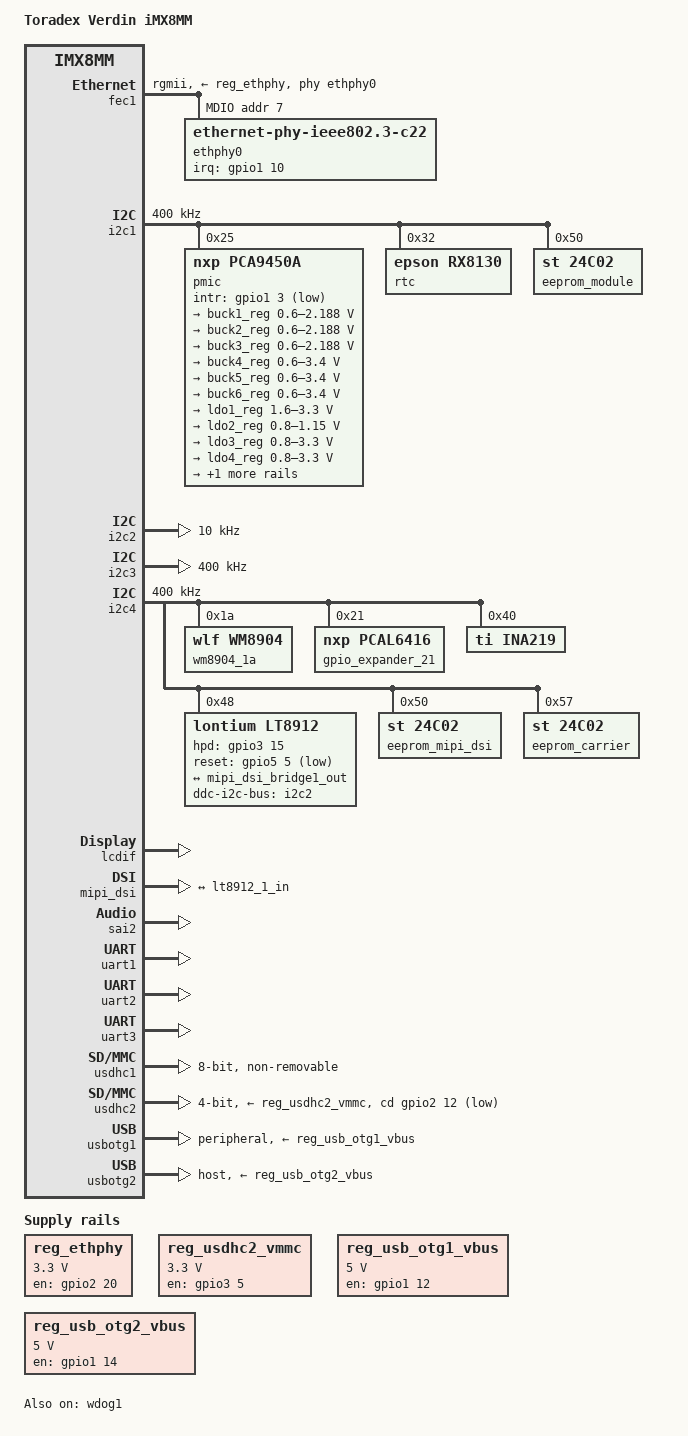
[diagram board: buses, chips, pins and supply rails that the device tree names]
// SPDX-License-Identifier: GPL-2.0+ OR X11
/*
 * Copyright 2019 Toradex
 */

/dts-v1/;

#include "imx8mm.dtsi"

/ {
	model = "Toradex Verdin iMX8MM";
	compatible = "toradex,verdin-imx8mm", "fsl,imx8mm";

	chosen {
		bootargs = "console=ttymxc0,115200 earlycon=ec_imx6q,0x30860000,115200";
		stdout-path = &uart1;
	};

	aliases {
		eeprom0 = &eeprom_module;
		eeprom1 = &eeprom_carrier;
		eeprom2 = &eeprom_mipi_dsi;
	};

	regulators {
		compatible = "simple-bus";
		#address-cells = <1>;
		#size-cells = <0>;

		reg_ethphy: regulator-ethphy {
			compatible = "regulator-fixed";
			enable-active-high;
			gpio = <&gpio2 20 GPIO_ACTIVE_HIGH>;
			off-on-delay = <500000>;
			pinctrl-names = "default";
			pinctrl-0 = <&pinctrl_reg_eth>;
			regulator-boot-on;
			regulator-name = "V3.3_ETH";
			regulator-min-microvolt = <3300000>;
			regulator-max-microvolt = <3300000>;
			startup-delay-us = <200000>;
		};

		reg_usdhc2_vmmc: regulator-usdhc2 {
			compatible = "regulator-fixed";
			pinctrl-names = "default";
			pinctrl-0 = <&pinctrl_usdhc2_pwr_en>;
			regulator-name = "V3.3_SD";
			regulator-min-microvolt = <3300000>;
			regulator-max-microvolt = <3300000>;
			gpio = <&gpio3 5 GPIO_ACTIVE_HIGH>;
			startup-delay-us = <2000>;
			enable-active-high;
		};

		reg_usb_otg1_vbus: regulator-usb-otg1 {
			compatible = "regulator-fixed";
			pinctrl-names = "default";
			pinctrl-0 = <&pinctrl_reg_usb1_en>;
			regulator-name = "usb_otg1_vbus";
			regulator-min-microvolt = <5000000>;
			regulator-max-microvolt = <5000000>;
			enable-active-high;
			/* Verdin USB1_EN */
			gpio = <&gpio1 12 GPIO_ACTIVE_HIGH>;
		};

		reg_usb_otg2_vbus: regulator-usb-otg2 {
			compatible = "regulator-fixed";
			pinctrl-names = "default";
			pinctrl-0 = <&pinctrl_reg_usb2_en>;
			regulator-name = "usb_otg2_vbus";
			regulator-min-microvolt = <5000000>;
			regulator-max-microvolt = <5000000>;
			enable-active-high;
			/* Verdin USB2_EN */
			gpio = <&gpio1 14 GPIO_ACTIVE_HIGH>;
		};
	};

	sound {
		compatible = "simple-audio-card";
		simple-audio-card,name = "imx8mm-wm8904";
		simple-audio-card,format = "i2s";
		simple-audio-card,bitclock-master = <&dailink_master>;
		simple-audio-card,frame-master = <&dailink_master>;
		/*simple-audio-card,mclk-fs = <1>;*/

		simple-audio-card,cpu {
			sound-dai = <&sai2>;
		};

		dailink_master: simple-audio-card,codec {
			sound-dai = <&wm8904_1a>;
//			clocks = <&clk IMX8QXP_AUD_MCLKOUT0>;
		};
	};

};

&A53_0 {
	arm-supply = <&buck2_reg>;
};

&clk {
	assigned-clocks = <&clk IMX8MM_AUDIO_PLL1>, <&clk IMX8MM_AUDIO_PLL2>;
	assigned-clock-rates = <786432000>, <722534400>;
};

&fec1 {
	pinctrl-names = "default";
	pinctrl-0 = <&pinctrl_fec1>;
	phy-handle = <&ethphy0>;
	phy-mode = "rgmii";
	phy-supply = <&reg_ethphy>;
	fsl,magic-packet;
	status = "okay";

	mdio {
		#address-cells = <1>;
		#size-cells = <0>;

		ethphy0: ethernet-phy@7 {
			compatible = "ethernet-phy-ieee802.3-c22";
			interrupt-parent = <&gpio1>;
			interrupts = <10 IRQ_TYPE_LEVEL_LOW>;
			reg = <7>;
			micrel,led-mode = <0>;
		};
	};
};

&i2c1 {
	clock-frequency = <400000>;
	pinctrl-names = "default";
	pinctrl-0 = <&pinctrl_i2c1>;
	status = "okay";

	/* Assembled on V1.1 HW and later */
	pmic: pca9450@25 {
		reg = <0x25>;
		compatible = "nxp,pca9450a";
		/* PMIC PCA9450 PMIC_nINT GPIO1_IO3 */
		pinctrl-0 = <&pinctrl_pmic>;
		gpio_intr = <&gpio1 3 GPIO_ACTIVE_LOW>;

		regulators {
			#address-cells = <1>;
			#size-cells = <0>;

			pca9450,pmic-buck2-uses-i2c-dvs;
			/* Run/Standby voltage */
			pca9450,pmic-buck2-dvs-voltage = <950000>, <850000>;

			buck1_reg: regulator@0 {
				reg = <0>;
				regulator-compatible = "buck1";
				regulator-min-microvolt = <600000>;
				regulator-max-microvolt = <2187500>;
				regulator-boot-on;
				regulator-always-on;
				regulator-ramp-delay = <3125>;
			};

			buck2_reg: regulator@1 {
				reg = <1>;
				regulator-compatible = "buck2";
				regulator-min-microvolt = <600000>;
				regulator-max-microvolt = <2187500>;
				regulator-boot-on;
				regulator-always-on;
				regulator-ramp-delay = <3125>;
			};

			buck3_reg: regulator@2 {
				reg = <2>;
				regulator-compatible = "buck3";
				regulator-min-microvolt = <600000>;
				regulator-max-microvolt = <2187500>;
				regulator-boot-on;
				regulator-always-on;
			};

			buck4_reg: regulator@3 {
				reg = <3>;
				regulator-compatible = "buck4";
				regulator-min-microvolt = <600000>;
				regulator-max-microvolt = <3400000>;
				regulator-boot-on;
				regulator-always-on;
			};

			buck5_reg: regulator@4 {
				reg = <4>;
				regulator-compatible = "buck5";
				regulator-min-microvolt = <600000>;
				regulator-max-microvolt = <3400000>;
				regulator-boot-on;
				regulator-always-on;
			};

			buck6_reg: regulator@5 {
				reg = <5>;
				regulator-compatible = "buck6";
				regulator-min-microvolt = <600000>;
				regulator-max-microvolt = <3400000>;
				regulator-boot-on;
				regulator-always-on;
			};

			ldo1_reg: regulator@6 {
				reg = <6>;
				regulator-compatible = "ldo1";
				regulator-min-microvolt = <1600000>;
				regulator-max-microvolt = <3300000>;
				regulator-boot-on;
				regulator-always-on;
			};

			ldo2_reg: regulator@7 {
				reg = <7>;
				regulator-compatible = "ldo2";
				regulator-min-microvolt = <800000>;
				regulator-max-microvolt = <1150000>;
				regulator-boot-on;
				regulator-always-on;
			};

			ldo3_reg: regulator@8 {
				reg = <8>;
				regulator-compatible = "ldo3";
				regulator-min-microvolt = <800000>;
				regulator-max-microvolt = <3300000>;
				regulator-boot-on;
				regulator-always-on;
			};

			ldo4_reg: regulator@9 {
				reg = <9>;
				regulator-compatible = "ldo4";
				regulator-min-microvolt = <800000>;
				regulator-max-microvolt = <3300000>;
				regulator-boot-on;
				regulator-always-on;
			};

			ldo5_reg: regulator@10 {
				reg = <10>;
				regulator-compatible = "ldo5";
				regulator-min-microvolt = <800000>;
				regulator-max-microvolt = <3300000>;
			};

		};
	};

	/* Epson RX8130 real time clock on carrier board */
	rtc: rx8130@32 {
		compatible = "epson,rx8130";
		reg = <0x32>;
	};

	eeprom_module: eeprom@50 {
		compatible = "st,24c02", "atmel,24c02", "i2c-eeprom";
		pagesize = <16>;
		reg = <0x50>;
	};
};

&i2c2 {
	clock-frequency = <10000>;
	pinctrl-names = "default";
	pinctrl-0 = <&pinctrl_i2c2>;
	status = "okay";
};

&i2c3 {
	clock-frequency = <400000>;
	pinctrl-names = "default";
	pinctrl-0 = <&pinctrl_i2c3>;
	status = "okay";
};

&i2c4 {
	clock-frequency = <400000>;
	pinctrl-names = "default";
	pinctrl-0 = <&pinctrl_i2c4>;
	status = "okay";

	/* Audio Codec */
	wm8904_1a: wm8904@1a {
		compatible = "wlf,wm8904";
		#sound-dai-cells = <0>;
		reg = <0x1a>;
		clocks = <&clk IMX8MM_CLK_SAI2_ROOT>;
		clock-names = "mclk";
	};

	gpio_expander_21: gpio-expander@21 {
		compatible = "nxp,pcal6416";
		gpio-controller;
		#gpio-cells = <2>;
		reg = <0x21>;
	};

	/* Current measurement into module VCC */
	ina219@40 {
		compatible = "ti,ina219";
		reg = <0x40>;
		shunt-resistor = <10000>;
		status = "okay";
	};

	/* MIPI-DSI to HDMI adapter */
	lt8912@48 {
		compatible = "lontium,lt8912";
		ddc-i2c-bus = <&i2c2>;
		hpd-gpios = <&gpio3 15 GPIO_ACTIVE_HIGH>;
		reset-gpios = <&gpio5 5 GPIO_ACTIVE_LOW>;
		pinctrl-names = "default";
		pinctrl-0 = <&pinctrl_gpio_hpd>, <&pinctrl_gpio1>,
			    <&pinctrl_gpio2>;
		reg = <0x48>;

		port {
			lt8912_1_in: endpoint {
				remote-endpoint = <&mipi_dsi_bridge1_out>;
			};
		};
	};

	/* EEPROM on MIPI-DSI to HDMI adapter */
	eeprom_mipi_dsi: eeprom@50 {
		compatible = "st,24c02", "atmel,24c02", "i2c-eeprom";
		pagesize = <16>;
		reg = <0x50>;
	};

	/* EEPROM on Verdin Development board */
	eeprom_carrier: eeprom@57 {
		compatible = "st,24c02", "atmel,24c02", "i2c-eeprom";
		pagesize = <16>;
		reg = <0x57>;
	};
};

&lcdif {
	status = "okay";
};

&mipi_dsi {
	status = "okay";

	port@1 {
		mipi_dsi_bridge1_out: endpoint {
			remote-endpoint = <&lt8912_1_in>;
		};
	};
};

/* VERDIN I2S_1 */
&sai2 {
	#sound-dai-cells = <0>;
	pinctrl-names = "default";
	pinctrl-0 = <&pinctrl_sai2>;
	assigned-clocks = <&clk IMX8MM_CLK_SAI2_SRC>,
			<&clk IMX8MM_CLK_SAI2_DIV>;
	assigned-clock-parents = <&clk IMX8MM_AUDIO_PLL1_OUT>;
	assigned-clock-rates = <0>, <24576000>;
	status = "okay";
};

/* Verdin UART3 */
&uart1 {
	pinctrl-names = "default";
	pinctrl-0 = <&pinctrl_uart1>;
	status = "okay";
};

/* Verdin UART1 */
&uart2 {
	pinctrl-names = "default";
	pinctrl-0 = <&pinctrl_uart2>;
	fsl,uart-has-rtscts;
	status = "okay";
};

/* Verdin UART2 */
&uart3 {
	pinctrl-names = "default";
	pinctrl-0 = <&pinctrl_uart3>;
	fsl,uart-has-rtscts;
	status = "okay";
};

/* On-module eMMC */
&usdhc1 {
	bus-width = <8>;
	keep-power-in-suspend;
	non-removable;
	pinctrl-names = "default", "state_100mhz", "state_200mhz";
	pinctrl-0 = <&pinctrl_usdhc1>;
	pinctrl-1 = <&pinctrl_usdhc1_100mhz>;
	pinctrl-2 = <&pinctrl_usdhc1_200mhz>;
	pm-ignore-notify;
	status = "okay";
	/* TODO Strobe */
};

/* Verdin SDIO 1 */
&usdhc2 {
	pinctrl-names = "default", "state_100mhz", "state_200mhz";
	pinctrl-0 = <&pinctrl_usdhc2>, <&pinctrl_usdhc2_cd>;
	pinctrl-1 = <&pinctrl_usdhc2_100mhz>, <&pinctrl_usdhc2_cd>;
	pinctrl-2 = <&pinctrl_usdhc2_200mhz>, <&pinctrl_usdhc2_cd>;
	cd-gpios = <&gpio2 12 GPIO_ACTIVE_LOW>;
	bus-width = <4>;
	vmmc-supply = <&reg_usdhc2_vmmc>;
	status = "okay";
};

&usbotg1 {
	dr_mode = "peripheral";
	picophy,pre-emp-curr-control = <3>;
	picophy,dc-vol-level-adjust = <7>;
	vbus-supply = <&reg_usb_otg1_vbus>;
	status = "okay";
};

&usbotg2 {
	dr_mode = "host";
	picophy,pre-emp-curr-control = <3>;
	picophy,dc-vol-level-adjust = <7>;
	vbus-supply = <&reg_usb_otg2_vbus>;
	status = "okay";
};

&wdog1 {
	pinctrl-names = "default";
	pinctrl-0 = <&pinctrl_wdog>;
	fsl,ext-reset-output;
	status = "okay";
};

&iomuxc {
	pinctrl-names = "default";
	pinctrl-0 = <&pinctrl_gpio1>, <&pinctrl_gpio2>, <&pinctrl_gpio3>,
		    <&pinctrl_gpio4>, <&pinctrl_gpio5>, <&pinctrl_gpio6>,
		    <&pinctrl_gpio7>, <&pinctrl_gpio8>, <&pinctrl_se050_ena>;

	imx8mm-verdin {
		pinctrl_can1_int: can1intgrp {
			fsl,pins = <
				MX8MM_IOMUXC_GPIO1_IO06_GPIO1_IO6	0x1c4
			>;
		};

		pinctrl_can2_int: can2intgrp {
			fsl,pins = <
				MX8MM_IOMUXC_GPIO1_IO07_GPIO1_IO7	0x1c4
			>;
		};

		pinctrl_ecspi2: ecspi2grp {
			fsl,pins = <
				MX8MM_IOMUXC_ECSPI2_SCLK_ECSPI2_SCLK	0x4		/* SODIMM 196 */
				MX8MM_IOMUXC_ECSPI2_MOSI_ECSPI2_MOSI	0x4		/* SODIMM 200 */
				MX8MM_IOMUXC_ECSPI2_MISO_ECSPI2_MISO	0x1c4		/* SODIMM 198 */
				MX8MM_IOMUXC_ECSPI2_SS0_GPIO5_IO13	0x1c4		/* SODIMM 202 */
			>;
		};

		pinctrl_ecspi3: ecspi3grp {
			fsl,pins = <
				MX8MM_IOMUXC_UART1_RXD_ECSPI3_SCLK	0x4
				MX8MM_IOMUXC_UART1_TXD_ECSPI3_MOSI	0x4
				MX8MM_IOMUXC_UART2_RXD_ECSPI3_MISO	0x1c4
				MX8MM_IOMUXC_UART2_TXD_GPIO5_IO25	0x1c4
				MX8MM_IOMUXC_GPIO1_IO05_GPIO1_IO5	0x1c4
			>;
		};

		pinctrl_fec1: fec1grp {
			fsl,pins = <
				MX8MM_IOMUXC_ENET_MDC_ENET1_MDC		0x3
				MX8MM_IOMUXC_ENET_MDIO_ENET1_MDIO		0x3
				MX8MM_IOMUXC_ENET_TD3_ENET1_RGMII_TD3		0x1f
				MX8MM_IOMUXC_ENET_TD2_ENET1_RGMII_TD2		0x1f
				MX8MM_IOMUXC_ENET_TD1_ENET1_RGMII_TD1		0x1f
				MX8MM_IOMUXC_ENET_TD0_ENET1_RGMII_TD0		0x1f
				MX8MM_IOMUXC_ENET_RD3_ENET1_RGMII_RD3		0x91
				MX8MM_IOMUXC_ENET_RD2_ENET1_RGMII_RD2		0x91
				MX8MM_IOMUXC_ENET_RD1_ENET1_RGMII_RD1		0x91
				MX8MM_IOMUXC_ENET_RD0_ENET1_RGMII_RD0		0x91
				MX8MM_IOMUXC_ENET_TXC_ENET1_RGMII_TXC		0x1f
				MX8MM_IOMUXC_ENET_RXC_ENET1_RGMII_RXC		0x91
				MX8MM_IOMUXC_ENET_RX_CTL_ENET1_RGMII_RX_CTL	0x91
				MX8MM_IOMUXC_ENET_TX_CTL_ENET1_RGMII_TX_CTL	0x1f
				MX8MM_IOMUXC_GPIO1_IO10_GPIO1_IO10		0x1c4
			>;
		};

		pinctrl_flexspi0: flexspi0grp {
			fsl,pins = <
				MX8MM_IOMUXC_NAND_ALE_QSPI_A_SCLK	0x1c2		/* SODIMM 52 */
				MX8MM_IOMUXC_NAND_CE0_B_QSPI_A_SS0_B	0x82		/* SODIMM 54 */
				MX8MM_IOMUXC_NAND_CE1_B_QSPI_A_SS1_B	0x82		/* SODIMM 64 */
				MX8MM_IOMUXC_NAND_DQS_QSPI_A_DQS	0x82		/* SODIMM 66 */
				MX8MM_IOMUXC_NAND_DATA00_QSPI_A_DATA0	0x82		/* SODIMM 56 */
				MX8MM_IOMUXC_NAND_DATA01_QSPI_A_DATA1	0x82		/* SODIMM 58 */
				MX8MM_IOMUXC_NAND_DATA02_QSPI_A_DATA2	0x82		/* SODIMM 60 */
				MX8MM_IOMUXC_NAND_DATA03_QSPI_A_DATA3	0x82		/* SODIMM 62 */
			>;
		};

		/* (MEZ_)DSI_1_INT# shared with (MEZ_)GPIO_1 on Verdin Development Board */
		pinctrl_gpio_hpd: gpiohpdgrp {
			fsl,pins = <
				MX8MM_IOMUXC_NAND_RE_B_GPIO3_IO15	0x184		/* SODIMM 17 */
			>;
		};

		/* (MEZ_)GPIO_1 shared with (MEZ_)DSI_1_INT# on Verdin Development Board */
		pinctrl_gpio1: gpio1grp {
			fsl,pins = <
				MX8MM_IOMUXC_NAND_CE3_B_GPIO3_IO4	0x184		/* SODIMM 206 */
			>;
		};

		pinctrl_gpio2: gpio2grp {
			fsl,pins = <
				MX8MM_IOMUXC_SPDIF_EXT_CLK_GPIO5_IO5	0x184		/* SODIMM 208 */
			>;
		};

		pinctrl_gpio3: gpio3grp {
			fsl,pins = <
				MX8MM_IOMUXC_UART3_RXD_GPIO5_IO26	0x184		/* SODIMM 210 */
			>;
		};

		pinctrl_gpio4: gpio4grp {
			fsl,pins = <
				MX8MM_IOMUXC_UART3_TXD_GPIO5_IO27	0x184		/* SODIMM 212 */
			>;
		};

		pinctrl_gpio5: gpio5grp {
			fsl,pins = <
				MX8MM_IOMUXC_GPIO1_IO00_GPIO1_IO0	0x184		/* SODIMM 216 */
			>;
		};

		pinctrl_gpio6: gpio6grp {
			fsl,pins = <
				MX8MM_IOMUXC_GPIO1_IO11_GPIO1_IO11	0x184		/* SODIMM 218 */
			>;
		};

		pinctrl_gpio7: gpio7grp {
			fsl,pins = <
				MX8MM_IOMUXC_GPIO1_IO08_GPIO1_IO8	0x184		/* SODIMM 220 */
			>;
		};

		pinctrl_gpio8: gpio8grp {
			fsl,pins = <
				MX8MM_IOMUXC_GPIO1_IO09_GPIO1_IO9	0x184		/* SODIMM 222 */
			>;
		};

		/* On Module I2C */
		pinctrl_i2c1: i2c1grp {
			fsl,pins = <
				MX8MM_IOMUXC_I2C1_SCL_I2C1_SCL		0x400001c6
				MX8MM_IOMUXC_I2C1_SDA_I2C1_SDA		0x400001c6
			>;
		};

		/* Verdin I2C_4_CSI */
		pinctrl_i2c2: i2c2grp {
			fsl,pins = <
				MX8MM_IOMUXC_I2C2_SCL_I2C2_SCL		0x400001c6	/* SODIMM 55 */
				MX8MM_IOMUXC_I2C2_SDA_I2C2_SDA		0x400001c6	/* SODIMM 53 */
			>;
		};

		/* Verdin I2C_2_DSI */
		pinctrl_i2c3: i2c3grp {
			fsl,pins = <
				MX8MM_IOMUXC_I2C3_SCL_I2C3_SCL		0x400001c6	/* SODIMM 95 */
				MX8MM_IOMUXC_I2C3_SDA_I2C3_SDA		0x400001c6	/* SODIMM 93 */
			>;
		};

		/* Verdin I2C_1 */
		pinctrl_i2c4: i2c4grp {
			fsl,pins = <
				MX8MM_IOMUXC_I2C4_SCL_I2C4_SCL		0x400001c6	/* SODIMM 14 */
				MX8MM_IOMUXC_I2C4_SDA_I2C4_SDA		0x400001c6	/* SODIMM 12 */
			>;
		};

		pinctrl_pcie0: pcie0grp {
			fsl,pins = <
				MX8MM_IOMUXC_SAI5_RXFS_GPIO3_IO19	0x6		/* SODIMM 244 */
				MX8MM_IOMUXC_SD2_RESET_B_GPIO2_IO19	0x6
			>;
		};

		pinctrl_pmic: pmicirq {
			fsl,pins = <
				MX8MM_IOMUXC_GPIO1_IO03_GPIO1_IO3	0x41
			>;
		};

		pinctrl_reg_eth: regethgrp {
			fsl,pins = <
				MX8MM_IOMUXC_SD2_WP_GPIO2_IO20		0x184
			>;
		};

		pinctrl_sai2: sai2grp {
			fsl,pins = <
				MX8MM_IOMUXC_SAI2_TXFS_SAI2_TX_SYNC	0xd6		/* SODIMM 32 */
				MX8MM_IOMUXC_SAI2_TXC_SAI2_TX_BCLK	0xd6		/* SODIMM 30 */
				MX8MM_IOMUXC_SAI2_MCLK_SAI2_MCLK	0xd6		/* SODIMM 38 */
				MX8MM_IOMUXC_SAI2_RXD0_SAI2_RX_DATA0	0xd6		/* SODIMM 36 */
				MX8MM_IOMUXC_SAI2_TXD0_SAI2_TX_DATA0	0xd6		/* SODIMM 34 */
			>;
		};

		pinctrl_sai5: sai5grp {
			fsl,pins = <
				MX8MM_IOMUXC_SAI5_RXD0_SAI5_RX_DATA0	0xd6		/* SODIMM 48 */
				MX8MM_IOMUXC_SAI5_RXD1_SAI5_TX_SYNC	0xd6		/* SODIMM 44 */
				MX8MM_IOMUXC_SAI5_RXD2_SAI5_TX_BCLK	0xd6		/* SODIMM 42 */
				MX8MM_IOMUXC_SAI5_RXD3_SAI5_TX_DATA0	0xd6		/* SODIMM 46 */
			>;
		};

		pinctrl_se050_ena: se050enagrp {
			fsl,pins = <
				MX8MM_IOMUXC_SAI1_TXD7_GPIO4_IO19	0x184
			>;
		};

		pinctrl_uart1: uart1grp {
			fsl,pins = <
				MX8MM_IOMUXC_SAI2_RXFS_UART1_TX	0x1c4		/* SODIMM 149 */
				MX8MM_IOMUXC_SAI2_RXC_UART1_RX		0x1c4		/* SODIMM 147 */
			>;
		};

		pinctrl_uart2: uart2grp {
			fsl,pins = <
				MX8MM_IOMUXC_SAI3_TXFS_UART2_DCE_RX	0x1c4		/* SODIMM 129 */
				MX8MM_IOMUXC_SAI3_TXC_UART2_DCE_TX	0x1c4		/* SODIMM 131 */
				MX8MM_IOMUXC_SAI3_RXC_UART2_DCE_CTS_B	0x1c4		/* SODIMM 133 */
				MX8MM_IOMUXC_SAI3_RXD_UART2_DCE_RTS_B	0x1c4		/* SODIMM 135 */
			>;
		};

		pinctrl_uart3: uart3grp {
			fsl,pins = <
				MX8MM_IOMUXC_ECSPI1_SCLK_UART3_DCE_RX		0x1c4	/* SODIMM 137 */
				MX8MM_IOMUXC_ECSPI1_MOSI_UART3_DCE_TX		0x1c4	/* SODIMM 139 */
				MX8MM_IOMUXC_ECSPI1_MISO_UART3_DCE_CTS_B	0x1c4	/* SODIMM 141 */
				MX8MM_IOMUXC_ECSPI1_SS0_UART3_DCE_RTS_B	0x1c4	/* SODIMM 143 */
			>;
		};

		pinctrl_uart4: uart4grp {
			fsl,pins = <
				MX8MM_IOMUXC_UART4_RXD_UART4_DCE_RX	0x1c4		/* SODIMM 151 */
				MX8MM_IOMUXC_UART4_TXD_UART4_DCE_TX	0x1c4		/* SODIMM 153 */
			>;
		};

		pinctrl_reg_usb1_en: regusb1en {
			fsl,pins = <
				MX8MM_IOMUXC_GPIO1_IO12_GPIO1_IO12	0x184		/* SODIMM 155 */
			>;
		};

		pinctrl_reg_usb2_en: regusb2en {
			fsl,pins = <
				MX8MM_IOMUXC_GPIO1_IO14_GPIO1_IO14	0x184		/* SODIMM 185 */
			>;
		};

		pinctrl_usdhc1: usdhc1grp {
			fsl,pins = <
				MX8MM_IOMUXC_SD1_CLK_USDHC1_CLK	0x190
				MX8MM_IOMUXC_SD1_CMD_USDHC1_CMD	0x1d0
				MX8MM_IOMUXC_SD1_DATA0_USDHC1_DATA0	0x1d0
				MX8MM_IOMUXC_SD1_DATA1_USDHC1_DATA1	0x1d0
				MX8MM_IOMUXC_SD1_DATA2_USDHC1_DATA2	0x1d0
				MX8MM_IOMUXC_SD1_DATA3_USDHC1_DATA3	0x1d0
				MX8MM_IOMUXC_SD1_DATA4_USDHC1_DATA4	0x1d0
				MX8MM_IOMUXC_SD1_DATA5_USDHC1_DATA5	0x1d0
				MX8MM_IOMUXC_SD1_DATA6_USDHC1_DATA6	0x1d0
				MX8MM_IOMUXC_SD1_DATA7_USDHC1_DATA7	0x1d0
				MX8MM_IOMUXC_SD1_RESET_B_USDHC1_RESET_B 0x1d1
				MX8MM_IOMUXC_SD1_STROBE_USDHC1_STROBE	0x190
			>;
		};

		pinctrl_usdhc1_100mhz: usdhc1grp100mhz {
			fsl,pins = <
				MX8MM_IOMUXC_SD1_CLK_USDHC1_CLK	0x194
				MX8MM_IOMUXC_SD1_CMD_USDHC1_CMD	0x1d4
				MX8MM_IOMUXC_SD1_DATA0_USDHC1_DATA0	0x1d4
				MX8MM_IOMUXC_SD1_DATA1_USDHC1_DATA1	0x1d4
				MX8MM_IOMUXC_SD1_DATA2_USDHC1_DATA2	0x1d4
				MX8MM_IOMUXC_SD1_DATA3_USDHC1_DATA3	0x1d4
				MX8MM_IOMUXC_SD1_DATA4_USDHC1_DATA4	0x1d4
				MX8MM_IOMUXC_SD1_DATA5_USDHC1_DATA5	0x1d4
				MX8MM_IOMUXC_SD1_DATA6_USDHC1_DATA6	0x1d4
				MX8MM_IOMUXC_SD1_DATA7_USDHC1_DATA7	0x1d4
				MX8MM_IOMUXC_SD1_RESET_B_USDHC1_RESET_B	0x1d1
				MX8MM_IOMUXC_SD1_STROBE_USDHC1_STROBE	0x194
			>;
		};

		pinctrl_usdhc1_200mhz: usdhc1grp200mhz {
			fsl,pins = <
				MX8MM_IOMUXC_SD1_CLK_USDHC1_CLK	0x196
				MX8MM_IOMUXC_SD1_CMD_USDHC1_CMD	0x1d6
				MX8MM_IOMUXC_SD1_DATA0_USDHC1_DATA0	0x1d6
				MX8MM_IOMUXC_SD1_DATA1_USDHC1_DATA1	0x1d6
				MX8MM_IOMUXC_SD1_DATA2_USDHC1_DATA2	0x1d6
				MX8MM_IOMUXC_SD1_DATA3_USDHC1_DATA3	0x1d6
				MX8MM_IOMUXC_SD1_DATA4_USDHC1_DATA4	0x1d6
				MX8MM_IOMUXC_SD1_DATA5_USDHC1_DATA5	0x1d6
				MX8MM_IOMUXC_SD1_DATA6_USDHC1_DATA6	0x1d6
				MX8MM_IOMUXC_SD1_DATA7_USDHC1_DATA7	0x1d6
				MX8MM_IOMUXC_SD1_RESET_B_USDHC1_RESET_B 0x1d1
				MX8MM_IOMUXC_SD1_STROBE_USDHC1_STROBE	0x196
			>;
		};

		pinctrl_usdhc2_cd: usdhc2cdgrp {
			fsl,pins = <
				MX8MM_IOMUXC_SD2_CD_B_GPIO2_IO12	0x1c4		/* SODIMM 84 */
			>;
		};

		pinctrl_usdhc2_pwr_en: usdhc2pwrengrp {
			fsl,pins = <
				MX8MM_IOMUXC_NAND_CLE_GPIO3_IO5	0x184		/* SODIMM 76 */
			>;
		};

		pinctrl_usdhc2: usdhc2grp {
			fsl,pins = <
				MX8MM_IOMUXC_SD2_CLK_USDHC2_CLK	0x190		/* SODIMM 78 */
				MX8MM_IOMUXC_SD2_CMD_USDHC2_CMD	0x1d0		/* SODIMM 74 */
				MX8MM_IOMUXC_SD2_DATA0_USDHC2_DATA0	0x1d0		/* SODIMM 80 */
				MX8MM_IOMUXC_SD2_DATA1_USDHC2_DATA1	0x1d0		/* SODIMM 82 */
				MX8MM_IOMUXC_SD2_DATA2_USDHC2_DATA2	0x1d0		/* SODIMM 70 */
				MX8MM_IOMUXC_SD2_DATA3_USDHC2_DATA3	0x1d0		/* SODIMM 72 */
				MX8MM_IOMUXC_GPIO1_IO04_USDHC2_VSELECT	0x1d0
			>;
		};

		pinctrl_usdhc2_100mhz: usdhc2grp100mhz {
			fsl,pins = <
				MX8MM_IOMUXC_SD2_CLK_USDHC2_CLK	0x194
				MX8MM_IOMUXC_SD2_CMD_USDHC2_CMD	0x1d4
				MX8MM_IOMUXC_SD2_DATA0_USDHC2_DATA0	0x1d4
				MX8MM_IOMUXC_SD2_DATA1_USDHC2_DATA1	0x1d4
				MX8MM_IOMUXC_SD2_DATA2_USDHC2_DATA2	0x1d4
				MX8MM_IOMUXC_SD2_DATA3_USDHC2_DATA3	0x1d4
				MX8MM_IOMUXC_GPIO1_IO04_USDHC2_VSELECT	0x1d0
			>;
		};

		pinctrl_usdhc2_200mhz: usdhc2grp200mhz {
			fsl,pins = <
				MX8MM_IOMUXC_SD2_CLK_USDHC2_CLK	0x196
				MX8MM_IOMUXC_SD2_CMD_USDHC2_CMD	0x1d6
				MX8MM_IOMUXC_SD2_DATA0_USDHC2_DATA0	0x1d6
				MX8MM_IOMUXC_SD2_DATA1_USDHC2_DATA1	0x1d6
				MX8MM_IOMUXC_SD2_DATA2_USDHC2_DATA2	0x1d6
				MX8MM_IOMUXC_SD2_DATA3_USDHC2_DATA3	0x1d6
				MX8MM_IOMUXC_GPIO1_IO04_USDHC2_VSELECT	0x1d0
			>;
		};

		pinctrl_usdhc3: usdhc3grp {
			fsl,pins = <
				MX8MM_IOMUXC_NAND_WE_B_USDHC3_CLK	0x190
				MX8MM_IOMUXC_NAND_WP_B_USDHC3_CMD	0x1d0
				MX8MM_IOMUXC_NAND_DATA04_USDHC3_DATA0	0x1d0
				MX8MM_IOMUXC_NAND_DATA05_USDHC3_DATA1	0x1d0
				MX8MM_IOMUXC_NAND_DATA06_USDHC3_DATA2	0x1d0
				MX8MM_IOMUXC_NAND_DATA07_USDHC3_DATA3	0x1d0
			>;
		};

		pinctrl_usdhc3_100mhz: usdhc3grp100mhz {
			fsl,pins = <
				MX8MM_IOMUXC_NAND_WE_B_USDHC3_CLK	0x194
				MX8MM_IOMUXC_NAND_WP_B_USDHC3_CMD	0x1d4
				MX8MM_IOMUXC_NAND_DATA04_USDHC3_DATA0	0x1d4
				MX8MM_IOMUXC_NAND_DATA05_USDHC3_DATA1	0x1d4
				MX8MM_IOMUXC_NAND_DATA06_USDHC3_DATA2	0x1d4
				MX8MM_IOMUXC_NAND_DATA07_USDHC3_DATA3	0x1d4
			>;
		};

		pinctrl_usdhc3_200mhz: usdhc3grp200mhz {
			fsl,pins = <
				MX8MM_IOMUXC_NAND_WE_B_USDHC3_CLK	0x196
				MX8MM_IOMUXC_NAND_WP_B_USDHC3_CMD	0x1d6
				MX8MM_IOMUXC_NAND_DATA04_USDHC3_DATA0	0x1d6
				MX8MM_IOMUXC_NAND_DATA05_USDHC3_DATA1	0x1d6
				MX8MM_IOMUXC_NAND_DATA06_USDHC3_DATA2	0x1d6
				MX8MM_IOMUXC_NAND_DATA07_USDHC3_DATA3	0x1d6
			>;
		};

		pinctrl_wdog: wdoggrp {
			fsl,pins = <
				MX8MM_IOMUXC_GPIO1_IO02_WDOG1_WDOG_B	0xc6
			>;
		};

		pinctrl_wifi_ctrl: wifictrlgrp {
			fsl,pins = <
				MX8MM_IOMUXC_NAND_READY_B_GPIO3_IO16	0x1c4		/* WIFI_WKUP_BT */
				MX8MM_IOMUXC_SAI5_RXC_GPIO3_IO20	0x1c4		/* WIFI_WKUP_WLAN */
				MX8MM_IOMUXC_SAI1_RXD7_GPIO4_IO9	0x1c4		/* WIFI_W_WKUP_HOST */
			>;
		};

		pinctrl_wifi_pwr_en: wifipwrengrp {
			fsl,pins = <
				MX8MM_IOMUXC_SAI5_MCLK_GPIO3_IO25	0x184		/* PMIC_EN_WIFI */
			>;
		};

		pinctrl_wifi_i2s: wifii2sgrp {
			fsl,pins = <
				MX8MM_IOMUXC_SAI1_RXD4_SAI6_TX_BCLK	0xd6
				MX8MM_IOMUXC_SAI1_RXD5_SAI6_TX_DATA0	0xd6
				MX8MM_IOMUXC_SAI1_RXD6_SAI6_TX_SYNC	0xd6
				MX8MM_IOMUXC_SAI1_TXD5_SAI6_RX_DATA0	0xd6
			>;
		};
	};
};
